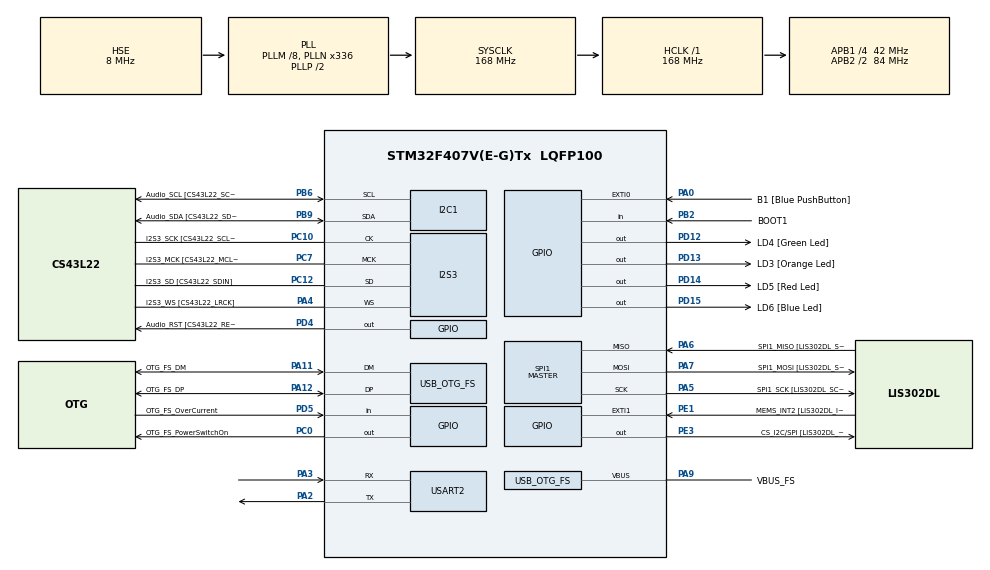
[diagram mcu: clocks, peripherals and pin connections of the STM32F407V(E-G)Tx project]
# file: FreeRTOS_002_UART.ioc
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FREERTOS.Tasks01=defaultTask,24,128,StartDefaultTask,Default,NULL,Dynamic,NULL,NULL
FREERTOS.configENABLE_FPU=1
FREERTOS.configUSE_NEWLIB_REENTRANT=1
I2S3.AudioFreq-Half_Duplex_Master=I2S_AUDIOFREQ_96K
I2S3.ErrorAudioFreq=-2.34 %
I2S3.ErrorAudioFreq-Half_Duplex_Master=0.8 %
I2S3.FullDuplexMode=I2S_FULLDUPLEXMODE_DISABLE
I2S3.Instance=SPI$Index
I2S3.RealAudioFreq=93.75 KHz
I2S3.RealAudioFreq-Half_Duplex_Master=96.774 KHz
I2S3.VirtualMode=I2S_MODE_MASTER
Mcu.Family=STM32F4
Mcu.Name=STM32F407V(E-G)Tx
Mcu.Package=LQFP100
NVIC.OTG_FS_IRQn=true\:5\:0\:false\:false\:true\:true\:true\:true\:true
NVIC.PriorityGroup=NVIC_PRIORITYGROUP_4
NVIC.TIM8_UP_TIM13_IRQn=true\:15\:0\:false\:false\:true\:false\:false\:true\:true
NVIC.TimeBase=TIM8_UP_TIM13_IRQn
NVIC.TimeBaseIP=TIM8
PA0-WKUP.GPIO_Label=B1 [Blue PushButton]
PA0-WKUP.GPIO_ModeDefaultEXTI=GPIO_MODE_EVT_RISING
PA0-WKUP.GPIO_PuPd=GPIO_NOPULL
PA0-WKUP.Signal=GPXTI0
PA10.GPIO_Label=OTG_FS_ID
PA10.GPIO_Mode=GPIO_MODE_AF_PP
PA10.GPIO_PuPd=GPIO_NOPULL
PA10.GPIO_Speed=GPIO_SPEED_FREQ_LOW
PA10.Signal=USB_OTG_FS_ID
PA11.GPIO_Label=OTG_FS_DM
PA11.GPIO_Mode=GPIO_MODE_AF_PP
PA11.GPIO_PuPd=GPIO_NOPULL
PA11.GPIO_Speed=GPIO_SPEED_FREQ_LOW
PA11.Mode=Host_Only
PA11.Signal=USB_OTG_FS_DM
PA12.GPIO_Label=OTG_FS_DP
PA12.GPIO_Mode=GPIO_MODE_AF_PP
PA12.GPIO_PuPd=GPIO_NOPULL
PA12.GPIO_Speed=GPIO_SPEED_FREQ_LOW
PA12.Mode=Host_Only
PA12.Signal=USB_OTG_FS_DP
PA13.GPIO_Label=SWDIO
PA13.Mode=Serial_Wire
PA13.Signal=SYS_JTMS-SWDIO
PA14.GPIO_Label=SWCLK
PA14.Mode=Serial_Wire
PA14.Signal=SYS_JTCK-SWCLK
PA2.Mode=Asynchronous
PA2.Signal=USART2_TX
PA3.Mode=Asynchronous
PA3.Signal=USART2_RX
PA4.GPIO_Label=I2S3_WS [CS43L22_LRCK]
PA4.GPIO_Mode=GPIO_MODE_AF_PP
PA4.GPIO_PuPd=GPIO_NOPULL
PA4.GPIO_Speed=GPIO_SPEED_FREQ_LOW
PA4.Mode=Half_Duplex_Master
PA4.Signal=I2S3_WS
PA5.GPIO_Label=SPI1_SCK [LIS302DL_SCL/SPC]
PA5.GPIO_Mode=GPIO_MODE_AF_PP
PA5.GPIO_PuPd=GPIO_NOPULL
PA5.GPIO_Speed=GPIO_SPEED_FREQ_LOW
PA5.Mode=Full_Duplex_Master
PA5.Signal=SPI1_SCK
PA6.GPIO_Label=SPI1_MISO [LIS302DL_SDO]
PA6.GPIO_Mode=GPIO_MODE_AF_PP
PA6.GPIO_PuPd=GPIO_NOPULL
PA6.GPIO_Speed=GPIO_SPEED_FREQ_LOW
PA6.Mode=Full_Duplex_Master
PA6.Signal=SPI1_MISO
PA7.GPIO_Label=SPI1_MOSI [LIS302DL_SDA/SDI/SDO]
PA7.GPIO_Mode=GPIO_MODE_AF_PP
PA7.GPIO_PuPd=GPIO_NOPULL
PA7.GPIO_Speed=GPIO_SPEED_FREQ_LOW
PA7.Mode=Full_Duplex_Master
PA7.Signal=SPI1_MOSI
PA9.GPIO_Label=VBUS_FS
PA9.GPIO_Mode=GPIO_MODE_INPUT
PA9.GPIO_PuPd=GPIO_NOPULL
PA9.Mode=Activate_VBUS
PA9.Signal=USB_OTG_FS_VBUS
PB10.GPIO_Label=CLK_IN [MP45DT02_CLK]
PB10.GPIO_Mode=GPIO_MODE_AF_PP
PB10.GPIO_PuPd=GPIO_NOPULL
PB10.GPIO_Speed=GPIO_SPEED_FREQ_LOW
PB10.Signal=I2S2_CK
PB2.GPIO_Label=BOOT1
PB2.GPIO_Mode=GPIO_MODE_INPUT
PB2.GPIO_PuPd=GPIO_NOPULL
PB2.Signal=GPIO_Input
PB3.GPIO_Label=SWO
PB3.Signal=SYS_JTDO-SWO
PB6.GPIO_Label=Audio_SCL [CS43L22_SCL]
PB6.GPIO_Mode=GPIO_MODE_AF_OD
PB6.GPIO_Pu=GPIO_PULLUP
PB6.GPIO_PuPd=GPIO_NOPULL
PB6.GPIO_Speed=GPIO_SPEED_FREQ_LOW
PB6.Mode=I2C
PB6.Signal=I2C1_SCL
PB9.GPIO_Label=Audio_SDA [CS43L22_SDA]
PB9.GPIO_Mode=GPIO_MODE_AF_OD
PB9.GPIO_Pu=GPIO_PULLUP
PB9.GPIO_PuPd=GPIO_NOPULL
PB9.GPIO_Speed=GPIO_SPEED_FREQ_LOW
PB9.Mode=I2C
PB9.Signal=I2C1_SDA
PC0.GPIO_Label=OTG_FS_PowerSwitchOn
PC0.GPIO_PuPd=GPIO_NOPULL
PC0.GPIO_Speed=GPIO_SPEED_FREQ_LOW
PC0.PinState=GPIO_PIN_SET
PC0.Signal=GPIO_Output
PC10.GPIO_Label=I2S3_SCK [CS43L22_SCLK]
PC10.GPIO_Mode=GPIO_MODE_AF_PP
PC10.GPIO_PuPd=GPIO_NOPULL
PC10.GPIO_Speed=GPIO_SPEED_FREQ_LOW
PC10.Mode=Half_Duplex_Master
PC10.Signal=I2S3_CK
PC12.GPIO_Label=I2S3_SD [CS43L22_SDIN]
PC12.GPIO_Mode=GPIO_MODE_AF_PP
PC12.GPIO_PuPd=GPIO_NOPULL
PC12.GPIO_Speed=GPIO_SPEED_FREQ_LOW
PC12.Mode=Half_Duplex_Master
PC12.Signal=I2S3_SD
PC14-OSC32_IN.GPIO_Label=PC14-OSC32_IN
PC14-OSC32_IN.Mode=LSE-External-Oscillator
PC14-OSC32_IN.Signal=RCC_OSC32_IN
PC15-OSC32_OUT.GPIO_Label=PC15-OSC32_OUT
PC15-OSC32_OUT.Mode=LSE-External-Oscillator
PC15-OSC32_OUT.Signal=RCC_OSC32_OUT
PC3.GPIO_Label=PDM_OUT [MP45DT02_DOUT]
PC3.GPIO_Mode=GPIO_MODE_AF_PP
PC3.GPIO_PuPd=GPIO_NOPULL
PC3.GPIO_Speed=GPIO_SPEED_FREQ_LOW
PC3.Signal=I2S2_SD
PC7.GPIO_Label=I2S3_MCK [CS43L22_MCLK]
PC7.GPIO_Mode=GPIO_MODE_AF_PP
PC7.GPIO_PuPd=GPIO_NOPULL
PC7.GPIO_Speed=GPIO_SPEED_FREQ_LOW
PC7.Mode=Master_Clock_Activated
PC7.Signal=I2S3_MCK
PD12.GPIO_Label=LD4 [Green Led]
PD12.GPIO_PuPd=GPIO_NOPULL
PD12.GPIO_Speed=GPIO_SPEED_FREQ_LOW
PD12.Signal=GPIO_Output
PD13.GPIO_Label=LD3 [Orange Led]
PD13.GPIO_PuPd=GPIO_NOPULL
PD13.GPIO_Speed=GPIO_SPEED_FREQ_LOW
PD13.Signal=GPIO_Output
PD14.GPIO_Label=LD5 [Red Led]
PD14.GPIO_PuPd=GPIO_NOPULL
PD14.GPIO_Speed=GPIO_SPEED_FREQ_LOW
PD14.Signal=GPIO_Output
PD15.GPIO_Label=LD6 [Blue Led]
PD15.GPIO_PuPd=GPIO_NOPULL
PD15.GPIO_Speed=GPIO_SPEED_FREQ_LOW
PD15.Signal=GPIO_Output
PD4.GPIO_Label=Audio_RST [CS43L22_RESET]
PD4.GPIO_PuPd=GPIO_NOPULL
PD4.GPIO_Speed=GPIO_SPEED_FREQ_LOW
PD4.Signal=GPIO_Output
PD5.GPIO_Label=OTG_FS_OverCurrent
PD5.GPIO_Mode=GPIO_MODE_INPUT
PD5.GPIO_PuPd=GPIO_NOPULL
PD5.Signal=GPIO_Input
PE1.GPIO_Label=MEMS_INT2 [LIS302DL_INT2]
PE1.GPIO_ModeDefaultEXTI=GPIO_MODE_EVT_RISING
PE1.GPIO_PuPd=GPIO_NOPULL
PE1.Signal=GPXTI1
PE3.GPIO_Label=CS_I2C/SPI [LIS302DL_CS_I2C/SPI]
PE3.GPIO_PuPd=GPIO_NOPULL
PE3.GPIO_Speed=GPIO_SPEED_FREQ_LOW
PE3.Signal=GPIO_Output
PH0-OSC_IN.GPIO_Label=PH0-OSC_IN
PH0-OSC_IN.Mode=HSE-External-Oscillator
PH0-OSC_IN.Signal=RCC_OSC_IN
PH1-OSC_OUT.GPIO_Label=PH1-OSC_OUT
PH1-OSC_OUT.Mode=HSE-External-Oscillator
PH1-OSC_OUT.Signal=RCC_OSC_OUT
ProjectManager.HeapSize=0x200
ProjectManager.StackSize=0x400
ProjectManager.TargetToolchain=STM32CubeIDE
RCC.48MHZClocksFreq_Value=48000000
RCC.AHBFreq_Value=168000000
RCC.APB1CLKDivider=RCC_HCLK_DIV4
RCC.APB1Freq_Value=42000000
RCC.APB1TimFreq_Value=84000000
RCC.APB2CLKDivider=RCC_HCLK_DIV2
RCC.APB2Freq_Value=84000000
RCC.APB2TimFreq_Value=168000000
RCC.CortexFreq_Value=168000000
RCC.HCLKFreq_Value=168000000
RCC.HSE_VALUE=8000000
RCC.HSI_VALUE=16000000
RCC.PLLM=8
RCC.PLLN=336
RCC.PLLQ=7
RCC.SYSCLKFreq_VALUE=168000000
RCC.SYSCLKSource=RCC_SYSCLKSOURCE_PLLCLK
RCC.VCOOutputFreq_Value=336000000
SPI1.BaudRatePrescaler-Full_Duplex_Master=SPI_BAUDRATEPRESCALER_2
SPI1.CalculateBaudRate-Full_Duplex_Master=42.0 MBits/s
SPI1.Direction=SPI_DIRECTION_2LINES
SPI1.Mode=SPI_MODE_MASTER
SPI1.Mode-Full_Duplex_Master=SPI_MODE_MASTER
SPI1.VirtualType=VM_MASTER
USART2.VirtualMode=VM_ASYNC
USB_HOST.BSP.number=1
USB_HOST.USBH_HandleTypeDef-CDC_FS=hUsbHostFS
USB_HOST.VirtualModeFS=Cdc
USB_HOST0.BSP.STBoard=false
USB_HOST0.BSP.api=Unknown
USB_HOST0.BSP.instance=PC0
USB_HOST0.BSP.ip=GPIO
USB_HOST0.BSP.mode=Output
USB_HOST0.BSP.name=Drive_VBUS_FS
USB_HOST0.BSP.solution=PC0
USB_OTG_FS.VirtualMode=Host_Only
USB_OTG_FS.phy_itface=HCD_PHY_EMBEDDED
VP_FREERTOS_VS_CMSIS_V2.Mode=CMSIS_V2
VP_SYS_VS_tim8.Mode=TIM8
VP_USB_HOST_VS_USB_HOST_CDC_FS.Mode=CDC_FS
board=STM32F407G-DISC1

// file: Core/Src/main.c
/* USER CODE BEGIN Header */
/**
  ******************************************************************************
  * @file           : main.c
  * @brief          : Main program body
  ******************************************************************************
  * @attention
  *
  * Copyright (c) 2024 STMicroelectronics.
  * All rights reserved.
  *
  * This software is licensed under terms that can be found in the LICENSE file
  * in the root directory of this software component.
  * If no LICENSE file comes with this software, it is provided AS-IS.
  *
  ******************************************************************************
  */
/* USER CODE END Header */
#include "main.h"
#include "cmsis_os.h"
#include "usb_host.h"

/* USER CODE BEGIN Includes */
#include "stdio.h"
#include "string.h"
#include "stdbool.h"

/* USER CODE END Includes */

I2C_HandleTypeDef hi2c1;

I2S_HandleTypeDef hi2s3;

SPI_HandleTypeDef hspi1;

UART_HandleTypeDef huart2;

/* Definitions for defaultTask */
osThreadId_t defaultTaskHandle;
const osThreadAttr_t defaultTask_attributes = {
  .name = "defaultTask",
  .stack_size = 128 * 4,
  .priority = (osPriority_t) osPriorityNormal,
};
/* USER CODE BEGIN PV */
TaskHandle_t myTask1Handle = NULL;
bool UART_ACCESS_KEY1 = true;
bool UART_ACCESS_KEY2 = false;

/* USER CODE END PV */

void SystemClock_Config(void);
static void MX_GPIO_Init(void);
static void MX_I2C1_Init(void);
static void MX_I2S3_Init(void);
static void MX_SPI1_Init(void);
static void MX_USART2_UART_Init(void);
void StartDefaultTask(void *argument);

/* USER CODE BEGIN 0 */
/*
int _write(int32_t file, uint8_t *ptr, int32_t len)
{
	for(uint32_t i = 0; i < len; i++)
	 {
		ITM_SendChar((*ptr)++);
	}
	return len;
}
*/

/* USER CODE END 0 */

int main(void)
{

  /* MCU Configuration--------------------------------------------------------*/

  /* Reset of all peripherals, Initializes the Flash interface and the Systick. */
  HAL_Init();

  /* Configure the system clock */
  SystemClock_Config();

  /* Initialize all configured peripherals */
  MX_GPIO_Init();
  MX_I2C1_Init();
  MX_I2S3_Init();
  MX_SPI1_Init();
  MX_USART2_UART_Init();

  /* Init scheduler */
  osKernelInitialize();

  /* Create the thread(s) */
  /* creation of defaultTask */
  defaultTaskHandle = osThreadNew(StartDefaultTask, NULL, &defaultTask_attributes);

  /* USER CODE BEGIN RTOS_THREADS */
  /* add threads, ... */
  //Create a task
  //printf("Create RTOS Tasks\r\n");
  xTaskCreate(Task1_Handler,
			  "Task 1",
			  configMINIMAL_STACK_SIZE,
			  NULL,
			  4,
			  &myTask1Handle);
  xTaskCreate(Task2_Handler,
  			  "Task 2",
  			  configMINIMAL_STACK_SIZE,
  			  NULL,
  			  4,
  			  &myTask1Handle);

  /* USER CODE END RTOS_THREADS */

  /* Start scheduler */
  osKernelStart();

  /* We should never get here as control is now taken by the scheduler */
  /* Infinite loop */
  while (1)
  {

  }
}

void SystemClock_Config(void)
{
  RCC_OscInitTypeDef RCC_OscInitStruct = {0};
  RCC_ClkInitTypeDef RCC_ClkInitStruct = {0};

  /** Configure the main internal regulator output voltage
  */
  __HAL_RCC_PWR_CLK_ENABLE();
  __HAL_PWR_VOLTAGESCALING_CONFIG(PWR_REGULATOR_VOLTAGE_SCALE1);

  /** Initializes the RCC Oscillators according to the specified parameters
  * in the RCC_OscInitTypeDef structure.
  */
  RCC_OscInitStruct.OscillatorType = RCC_OSCILLATORTYPE_HSE;
  RCC_OscInitStruct.HSEState = RCC_HSE_ON;
  RCC_OscInitStruct.PLL.PLLState = RCC_PLL_ON;
  RCC_OscInitStruct.PLL.PLLSource = RCC_PLLSOURCE_HSE;
  RCC_OscInitStruct.PLL.PLLM = 8;
  RCC_OscInitStruct.PLL.PLLN = 336;
  RCC_OscInitStruct.PLL.PLLP = RCC_PLLP_DIV2;
  RCC_OscInitStruct.PLL.PLLQ = 7;
  if (HAL_RCC_OscConfig(&RCC_OscInitStruct) != HAL_OK)
  {
    Error_Handler();
  }

  /** Initializes the CPU, AHB and APB buses clocks
  */
  RCC_ClkInitStruct.ClockType = RCC_CLOCKTYPE_HCLK|RCC_CLOCKTYPE_SYSCLK
                              |RCC_CLOCKTYPE_PCLK1|RCC_CLOCKTYPE_PCLK2;
  RCC_ClkInitStruct.SYSCLKSource = RCC_SYSCLKSOURCE_PLLCLK;
  RCC_ClkInitStruct.AHBCLKDivider = RCC_SYSCLK_DIV1;
  RCC_ClkInitStruct.APB1CLKDivider = RCC_HCLK_DIV4;
  RCC_ClkInitStruct.APB2CLKDivider = RCC_HCLK_DIV2;

  if (HAL_RCC_ClockConfig(&RCC_ClkInitStruct, FLASH_LATENCY_5) != HAL_OK)
  {
    Error_Handler();
  }
}

static void MX_I2C1_Init(void)
{

  hi2c1.Instance = I2C1;
  hi2c1.Init.ClockSpeed = 100000;
  hi2c1.Init.DutyCycle = I2C_DUTYCYCLE_2;
  hi2c1.Init.OwnAddress1 = 0;
  hi2c1.Init.AddressingMode = I2C_ADDRESSINGMODE_7BIT;
  hi2c1.Init.DualAddressMode = I2C_DUALADDRESS_DISABLE;
  hi2c1.Init.OwnAddress2 = 0;
  hi2c1.Init.GeneralCallMode = I2C_GENERALCALL_DISABLE;
  hi2c1.Init.NoStretchMode = I2C_NOSTRETCH_DISABLE;
  if (HAL_I2C_Init(&hi2c1) != HAL_OK)
  {
    Error_Handler();
  }

}

static void MX_I2S3_Init(void)
{

  hi2s3.Instance = SPI3;
  hi2s3.Init.Mode = I2S_MODE_MASTER_TX;
  hi2s3.Init.Standard = I2S_STANDARD_PHILIPS;
  hi2s3.Init.DataFormat = I2S_DATAFORMAT_16B;
  hi2s3.Init.MCLKOutput = I2S_MCLKOUTPUT_ENABLE;
  hi2s3.Init.AudioFreq = I2S_AUDIOFREQ_96K;
  hi2s3.Init.CPOL = I2S_CPOL_LOW;
  hi2s3.Init.ClockSource = I2S_CLOCK_PLL;
  hi2s3.Init.FullDuplexMode = I2S_FULLDUPLEXMODE_DISABLE;
  if (HAL_I2S_Init(&hi2s3) != HAL_OK)
  {
    Error_Handler();
  }

}

static void MX_SPI1_Init(void)
{

  /* SPI1 parameter configuration*/
  hspi1.Instance = SPI1;
  hspi1.Init.Mode = SPI_MODE_MASTER;
  hspi1.Init.Direction = SPI_DIRECTION_2LINES;
  hspi1.Init.DataSize = SPI_DATASIZE_8BIT;
  hspi1.Init.CLKPolarity = SPI_POLARITY_LOW;
  hspi1.Init.CLKPhase = SPI_PHASE_1EDGE;
  hspi1.Init.NSS = SPI_NSS_SOFT;
  hspi1.Init.BaudRatePrescaler = SPI_BAUDRATEPRESCALER_2;
  hspi1.Init.FirstBit = SPI_FIRSTBIT_MSB;
  hspi1.Init.TIMode = SPI_TIMODE_DISABLE;
  hspi1.Init.CRCCalculation = SPI_CRCCALCULATION_DISABLE;
  hspi1.Init.CRCPolynomial = 10;
  if (HAL_SPI_Init(&hspi1) != HAL_OK)
  {
    Error_Handler();
  }

}

static void MX_USART2_UART_Init(void)
{

  huart2.Instance = USART2;
  huart2.Init.BaudRate = 115200;
  huart2.Init.WordLength = UART_WORDLENGTH_8B;
  huart2.Init.StopBits = UART_STOPBITS_1;
  huart2.Init.Parity = UART_PARITY_NONE;
  huart2.Init.Mode = UART_MODE_TX_RX;
  huart2.Init.HwFlowCtl = UART_HWCONTROL_NONE;
  huart2.Init.OverSampling = UART_OVERSAMPLING_16;
  if (HAL_UART_Init(&huart2) != HAL_OK)
  {
    Error_Handler();
  }

}

static void MX_GPIO_Init(void)
{
  GPIO_InitTypeDef GPIO_InitStruct = {0};

  /* GPIO Ports Clock Enable */
  __HAL_RCC_GPIOE_CLK_ENABLE();
  __HAL_RCC_GPIOC_CLK_ENABLE();
  __HAL_RCC_GPIOH_CLK_ENABLE();
  __HAL_RCC_GPIOA_CLK_ENABLE();
  __HAL_RCC_GPIOB_CLK_ENABLE();
  __HAL_RCC_GPIOD_CLK_ENABLE();

  /*Configure GPIO pin Output Level */
  HAL_GPIO_WritePin(CS_I2C_SPI_GPIO_Port, CS_I2C_SPI_Pin, GPIO_PIN_RESET);

  /*Configure GPIO pin Output Level */
  HAL_GPIO_WritePin(OTG_FS_PowerSwitchOn_GPIO_Port, OTG_FS_PowerSwitchOn_Pin, GPIO_PIN_SET);

  /*Configure GPIO pin Output Level */
  HAL_GPIO_WritePin(GPIOD, LD4_Pin|LD3_Pin|LD5_Pin|LD6_Pin
                          |Audio_RST_Pin, GPIO_PIN_RESET);

  /*Configure GPIO pin : CS_I2C_SPI_Pin */
  GPIO_InitStruct.Pin = CS_I2C_SPI_Pin;
  GPIO_InitStruct.Mode = GPIO_MODE_OUTPUT_PP;
  GPIO_InitStruct.Pull = GPIO_NOPULL;
  GPIO_InitStruct.Speed = GPIO_SPEED_FREQ_LOW;
  HAL_GPIO_Init(CS_I2C_SPI_GPIO_Port, &GPIO_InitStruct);

  /*Configure GPIO pin : OTG_FS_PowerSwitchOn_Pin */
  GPIO_InitStruct.Pin = OTG_FS_PowerSwitchOn_Pin;
  GPIO_InitStruct.Mode = GPIO_MODE_OUTPUT_PP;
  GPIO_InitStruct.Pull = GPIO_NOPULL;
  GPIO_InitStruct.Speed = GPIO_SPEED_FREQ_LOW;
  HAL_GPIO_Init(OTG_FS_PowerSwitchOn_GPIO_Port, &GPIO_InitStruct);

  /*Configure GPIO pin : PDM_OUT_Pin */
  GPIO_InitStruct.Pin = PDM_OUT_Pin;
  GPIO_InitStruct.Mode = GPIO_MODE_AF_PP;
  GPIO_InitStruct.Pull = GPIO_NOPULL;
  GPIO_InitStruct.Speed = GPIO_SPEED_FREQ_LOW;
  GPIO_InitStruct.Alternate = GPIO_AF5_SPI2;
  HAL_GPIO_Init(PDM_OUT_GPIO_Port, &GPIO_InitStruct);

  /*Configure GPIO pin : B1_Pin */
  GPIO_InitStruct.Pin = B1_Pin;
  GPIO_InitStruct.Mode = GPIO_MODE_EVT_RISING;
  GPIO_InitStruct.Pull = GPIO_NOPULL;
  HAL_GPIO_Init(B1_GPIO_Port, &GPIO_InitStruct);

  /*Configure GPIO pin : BOOT1_Pin */
  GPIO_InitStruct.Pin = BOOT1_Pin;
  GPIO_InitStruct.Mode = GPIO_MODE_INPUT;
  GPIO_InitStruct.Pull = GPIO_NOPULL;
  HAL_GPIO_Init(BOOT1_GPIO_Port, &GPIO_InitStruct);

  /*Configure GPIO pin : CLK_IN_Pin */
  GPIO_InitStruct.Pin = CLK_IN_Pin;
  GPIO_InitStruct.Mode = GPIO_MODE_AF_PP;
  GPIO_InitStruct.Pull = GPIO_NOPULL;
  GPIO_InitStruct.Speed = GPIO_SPEED_FREQ_LOW;
  GPIO_InitStruct.Alternate = GPIO_AF5_SPI2;
  HAL_GPIO_Init(CLK_IN_GPIO_Port, &GPIO_InitStruct);

  /*Configure GPIO pins : LD4_Pin LD3_Pin LD5_Pin LD6_Pin
                           Audio_RST_Pin */
  GPIO_InitStruct.Pin = LD4_Pin|LD3_Pin|LD5_Pin|LD6_Pin
                          |Audio_RST_Pin;
  GPIO_InitStruct.Mode = GPIO_MODE_OUTPUT_PP;
  GPIO_InitStruct.Pull = GPIO_NOPULL;
  GPIO_InitStruct.Speed = GPIO_SPEED_FREQ_LOW;
  HAL_GPIO_Init(GPIOD, &GPIO_InitStruct);

  /*Configure GPIO pin : OTG_FS_OverCurrent_Pin */
  GPIO_InitStruct.Pin = OTG_FS_OverCurrent_Pin;
  GPIO_InitStruct.Mode = GPIO_MODE_INPUT;
  GPIO_InitStruct.Pull = GPIO_NOPULL;
  HAL_GPIO_Init(OTG_FS_OverCurrent_GPIO_Port, &GPIO_InitStruct);

  /*Configure GPIO pin : MEMS_INT2_Pin */
  GPIO_InitStruct.Pin = MEMS_INT2_Pin;
  GPIO_InitStruct.Mode = GPIO_MODE_EVT_RISING;
  GPIO_InitStruct.Pull = GPIO_NOPULL;
  HAL_GPIO_Init(MEMS_INT2_GPIO_Port, &GPIO_InitStruct);

}

/* USER CODE BEGIN 4 */
void Task1_Handler(void *params)
{
	while(1)
	{
		if (UART_ACCESS_KEY1 == true){
			UART_ACCESS_KEY2 = false;
			HAL_GPIO_TogglePin(LD3_GPIO_Port, LD3_Pin);
			char message[] = "Hi this is Task 1\r\n";
			HAL_UART_Transmit(&huart2,(uint8_t *)message , strlen(message), 100);
			osDelay(500);
			UART_ACCESS_KEY2 = true;
			UART_ACCESS_KEY1 = false;

		}

	}

}
void Task2_Handler(void *params)
{
	while(1)
	{
		if (UART_ACCESS_KEY2 == true){
			UART_ACCESS_KEY1 = false;
			HAL_GPIO_TogglePin(LD4_GPIO_Port, LD4_Pin);
			char message[] = "Hi this is Task 2\r\n";
			HAL_UART_Transmit(&huart2,(uint8_t *)message , strlen(message), 100);
			osDelay(500);
			UART_ACCESS_KEY1 = true;
			UART_ACCESS_KEY2 = false;

		}

	}
}

/*** Functions ***/

/* USER CODE END 4 */

void StartDefaultTask(void *argument)
{
  /* init code for USB_HOST */
  MX_USB_HOST_Init();
  for(;;)
  {
    osDelay(1);
  }
}

void HAL_TIM_PeriodElapsedCallback(TIM_HandleTypeDef *htim)
{
  if (htim->Instance == TIM8) {
    HAL_IncTick();
  }
}

void Error_Handler(void)
{
  __disable_irq();
  while (1)
  {
  }
}
